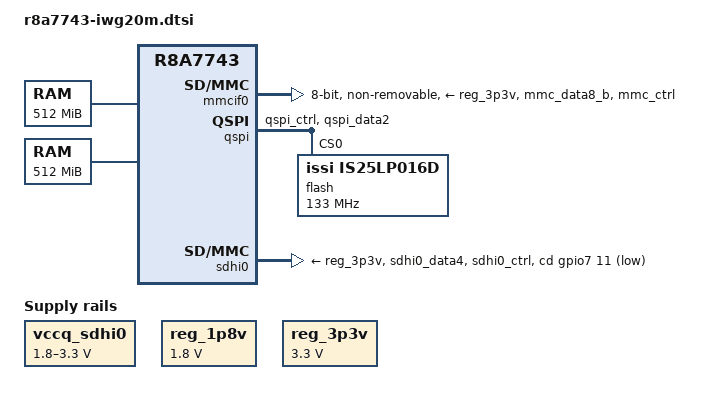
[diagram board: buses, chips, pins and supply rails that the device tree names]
// SPDX-License-Identifier: GPL-2.0
/*
 * Device Tree Source for the iWave-RZG1M-20M Qseven SOM
 *
 * Copyright (C) 2017 Renesas Electronics Corp.
 */

#include "r8a7743.dtsi"
#include <dt-bindings/gpio/gpio.h>

/ {
	compatible = "iwave,g20m", "renesas,r8a7743";

	memory@40000000 {
		device_type = "memory";
		reg = <0 0x40000000 0 0x20000000>;
	};

	memory@200000000 {
		device_type = "memory";
		reg = <2 0x00000000 0 0x20000000>;
	};

	vccq_sdhi0: regulator-vccq-sdhi0 {
		compatible = "regulator-gpio";

		regulator-name = "SDHI0 VccQ";
		regulator-min-microvolt = <1800000>;
		regulator-max-microvolt = <3300000>;

		gpios = <&gpio1 13 GPIO_ACTIVE_LOW>;
		gpios-states = <1>;
		states = <3300000 1
			1800000 0>;
	};

	reg_1p8v: 1p8v {
		compatible = "regulator-fixed";
		regulator-name = "1P8V";
		regulator-min-microvolt = <1800000>;
		regulator-max-microvolt = <1800000>;
		regulator-always-on;
		regulator-boot-on;
	};

	reg_3p3v: 3p3v {
		compatible = "regulator-fixed";
		regulator-name = "3P3V";
		regulator-min-microvolt = <3300000>;
		regulator-max-microvolt = <3300000>;
		regulator-always-on;
		regulator-boot-on;
	};
};

&extal_clk {
	clock-frequency = <20000000>;
};

&pfc {
	mmcif0_pins: mmc {
		groups = "mmc_data8_b", "mmc_ctrl";
		function = "mmc";
		power-source = <3300>;
	};

	mmcif0_pins_uhs: mmc {
		groups = "mmc_data8_b", "mmc_ctrl";
		function = "mmc";
		power-source = <1800>;
	};

	qspi_pins: qspi {
		groups = "qspi_ctrl", "qspi_data2";
		function = "qspi";
	};

	sdhi0_pins: sd0 {
		groups = "sdhi0_data4", "sdhi0_ctrl";
		function = "sdhi0";
		power-source = <3300>;
	};

	sdhi0_pins_uhs: sd0_uhs {
		groups = "sdhi0_data4", "sdhi0_ctrl";
		function = "sdhi0";
		power-source = <1800>;
	};
};

&mmcif0 {
	pinctrl-0 = <&mmcif0_pins>, <&mmcif0_pins_uhs>;
	pinctrl-names = "default", "state_uhs";

	vmmc-supply = <&reg_3p3v>;
	vqmmc-supply = <&reg_1p8v>;
	bus-width = <8>;
	non-removable;
	status = "okay";
};

&qspi {
	pinctrl-0 = <&qspi_pins>;
	pinctrl-names = "default";

	status = "okay";

	/* WARNING - This device contains the bootloader. Handle with care. */
	flash: flash@0 {
		#address-cells = <1>;
		#size-cells = <1>;
		compatible = "issi,is25lp016d", "jedec,spi-nor";
		reg = <0>;
		spi-max-frequency = <133000000>;
		spi-tx-bus-width = <1>;
		spi-rx-bus-width = <1>;
		m25p,fast-read;
		spi-cpol;
		spi-cpha;
	};
};

&sdhi0 {
	pinctrl-0 = <&sdhi0_pins>;
	pinctrl-1 = <&sdhi0_pins_uhs>;
	pinctrl-names = "default", "state_uhs";

	vmmc-supply = <&reg_3p3v>;
	vqmmc-supply = <&vccq_sdhi0>;
	cd-gpios = <&gpio7 11 GPIO_ACTIVE_LOW>;
	sd-uhs-sdr50;
	status = "okay";
};
